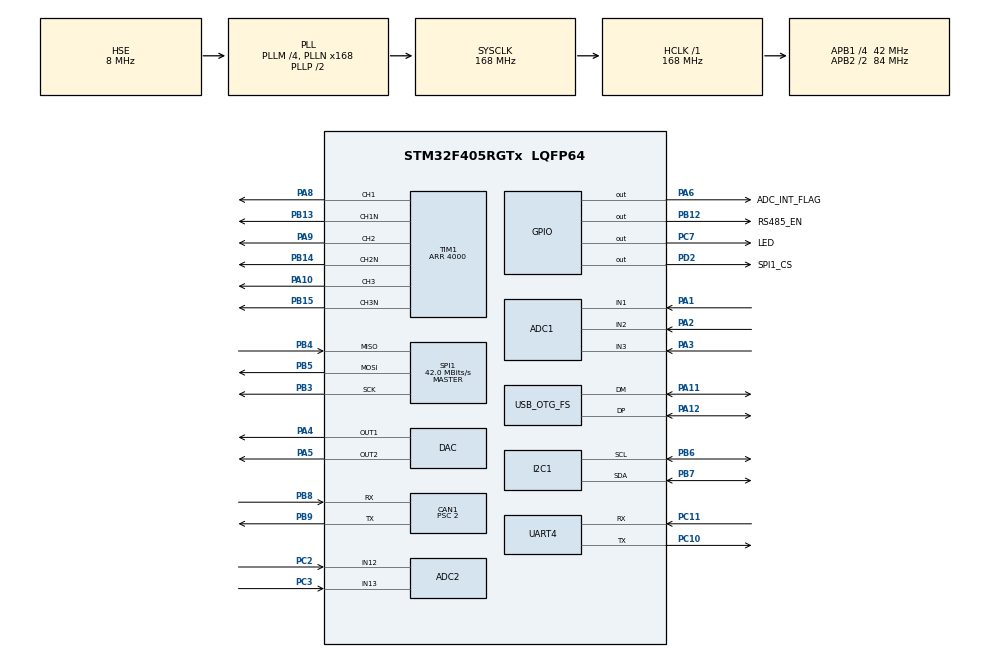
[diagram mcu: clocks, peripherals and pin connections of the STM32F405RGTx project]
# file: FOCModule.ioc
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ADC1.Channel-0\#ChannelRegularConversion=ADC_CHANNEL_1
ADC1.Channel-5\#ChannelInjectedConversion=ADC_CHANNEL_1
ADC1.Channel-6\#ChannelInjectedConversion=ADC_CHANNEL_2
ADC1.Channel-7\#ChannelInjectedConversion=ADC_CHANNEL_3
ADC1.EOCSelection=ADC_EOC_SEQ_CONV
ADC1.ExternalTrigInjecConv=ADC_EXTERNALTRIGINJECCONV_T1_CC4
ADC1.ExternalTrigInjecConvEdge=ADC_EXTERNALTRIGINJECCONVEDGE_FALLING
ADC1.InjNumberOfConversion=3
ADC1.InjectedOffset-5\#ChannelInjectedConversion=0
ADC1.InjectedOffset-6\#ChannelInjectedConversion=0
ADC1.InjectedOffset-7\#ChannelInjectedConversion=0
ADC1.InjectedRank-5\#ChannelInjectedConversion=1
ADC1.InjectedRank-6\#ChannelInjectedConversion=2
ADC1.InjectedRank-7\#ChannelInjectedConversion=3
ADC1.NbrOfConversion=1
ADC1.NbrOfConversionFlag=1
ADC1.Rank-0\#ChannelRegularConversion=1
ADC1.SamplingTime-0\#ChannelRegularConversion=ADC_SAMPLETIME_3CYCLES
ADC1.SamplingTime-5\#ChannelInjectedConversion=ADC_SAMPLETIME_3CYCLES
ADC1.SamplingTime-6\#ChannelInjectedConversion=ADC_SAMPLETIME_3CYCLES
ADC1.SamplingTime-7\#ChannelInjectedConversion=ADC_SAMPLETIME_3CYCLES
ADC1.master=1
ADC2.Channel-1\#ChannelRegularConversion=ADC_CHANNEL_12
ADC2.DMAContinuousRequests=ENABLE
ADC2.ExternalTrigConv=ADC_EXTERNALTRIGCONV_T3_TRGO
ADC2.NbrOfConversionFlag=1
ADC2.Rank-1\#ChannelRegularConversion=1
ADC2.SamplingTime-1\#ChannelRegularConversion=ADC_SAMPLETIME_15CYCLES
CAN1.ABOM=ENABLE
CAN1.BS1=CAN_BS1_14TQ
CAN1.BS2=CAN_BS2_6TQ
CAN1.CalculateBaudRate=1000000
CAN1.CalculateTimeBit=1000
CAN1.CalculateTimeQuantum=47.61904761904762
CAN1.Prescaler=2
DAC.DAC_Trigger=DAC_TRIGGER_NONE
Dma.ADC2.0.Direction=DMA_PERIPH_TO_MEMORY
Dma.ADC2.0.FIFOMode=DMA_FIFOMODE_DISABLE
Dma.ADC2.0.Instance=DMA2_Stream2
Dma.ADC2.0.MemDataAlignment=DMA_MDATAALIGN_HALFWORD
Dma.ADC2.0.MemInc=DMA_MINC_ENABLE
Dma.ADC2.0.Mode=DMA_CIRCULAR
Dma.ADC2.0.PeriphDataAlignment=DMA_PDATAALIGN_HALFWORD
Dma.ADC2.0.PeriphInc=DMA_PINC_DISABLE
Dma.ADC2.0.Priority=DMA_PRIORITY_LOW
Dma.Request0=ADC2
I2C1.I2C_Mode=I2C_Fast
Mcu.Family=STM32F4
Mcu.Name=STM32F405RGTx
Mcu.Package=LQFP64
NVIC.ADC_IRQn=true\:4\:0\:true\:false\:true\:true\:true\:true
NVIC.CAN1_RX0_IRQn=true\:3\:0\:true\:false\:true\:true\:true\:true
NVIC.DMA2_Stream2_IRQn=true\:0\:0\:false\:false\:true\:false\:true\:true
NVIC.OTG_FS_IRQn=true\:2\:0\:true\:false\:true\:false\:true\:true
NVIC.PriorityGroup=NVIC_PRIORITYGROUP_4
NVIC.TIM4_IRQn=true\:1\:0\:true\:false\:true\:true\:true\:true
PA1.Signal=ADCx_IN1
PA10.Signal=S_TIM1_CH3
PA11.Mode=Device_Only
PA11.Signal=USB_OTG_FS_DM
PA12.Mode=Device_Only
PA12.Signal=USB_OTG_FS_DP
PA13.Mode=Serial_Wire
PA13.Signal=SYS_JTMS-SWDIO
PA14.Mode=Serial_Wire
PA14.Signal=SYS_JTCK-SWCLK
PA2.Signal=ADCx_IN2
PA3.Signal=ADCx_IN3
PA4.Signal=SharedAnalog_PA4
PA5.Signal=SharedAnalog_PA5
PA6.GPIO_Label=ADC_INT_FLAG
PA6.GPIO_Speed=GPIO_SPEED_FREQ_VERY_HIGH
PA6.Signal=GPIO_Output
PA8.Signal=S_TIM1_CH1
PA9.Signal=S_TIM1_CH2
PB12.GPIO_Label=RS485_EN
PB12.Signal=GPIO_Output
PB13.Mode=PWM Generation1 CH1 CH1N
PB13.Signal=TIM1_CH1N
PB14.Mode=PWM Generation2 CH2 CH2N
PB14.Signal=TIM1_CH2N
PB15.Mode=PWM Generation3 CH3 CH3N
PB15.Signal=TIM1_CH3N
PB3.Mode=Full_Duplex_Master
PB3.Signal=SPI1_SCK
PB4.Mode=Full_Duplex_Master
PB4.Signal=SPI1_MISO
PB5.Mode=Full_Duplex_Master
PB5.Signal=SPI1_MOSI
PB6.Mode=I2C
PB6.Signal=I2C1_SCL
PB7.Mode=I2C
PB7.Signal=I2C1_SDA
PB8.Mode=CAN_Activate
PB8.Signal=CAN1_RX
PB9.Mode=CAN_Activate
PB9.Signal=CAN1_TX
PC10.Mode=Asynchronous
PC10.Signal=UART4_TX
PC11.Mode=Asynchronous
PC11.Signal=UART4_RX
PC2.Signal=ADCx_IN12
PC3.Signal=ADCx_IN13
PC7.GPIO_Label=LED
PC7.GPIO_Speed=GPIO_SPEED_FREQ_VERY_HIGH
PC7.Signal=GPIO_Output
PD2.GPIO_Label=SPI1_CS
PD2.Signal=GPIO_Output
PH0-OSC_IN.Mode=HSE-External-Oscillator
PH0-OSC_IN.Signal=RCC_OSC_IN
PH1-OSC_OUT.Mode=HSE-External-Oscillator
PH1-OSC_OUT.Signal=RCC_OSC_OUT
ProjectManager.HeapSize=0x800
ProjectManager.StackSize=0x800
ProjectManager.TargetToolchain=STM32CubeIDE
RCC.48MHZClocksFreq_Value=48000000
RCC.AHBFreq_Value=168000000
RCC.APB1CLKDivider=RCC_HCLK_DIV4
RCC.APB1Freq_Value=42000000
RCC.APB1TimFreq_Value=84000000
RCC.APB2CLKDivider=RCC_HCLK_DIV2
RCC.APB2Freq_Value=84000000
RCC.APB2TimFreq_Value=168000000
RCC.CortexFreq_Value=168000000
RCC.HCLKFreq_Value=168000000
RCC.HSE_VALUE=8000000
RCC.HSI_VALUE=16000000
RCC.LSE_VALUE=32768
RCC.PLLM=4
RCC.PLLN=168
RCC.PLLQ=7
RCC.SYSCLKFreq_VALUE=168000000
RCC.SYSCLKSource=RCC_SYSCLKSOURCE_PLLCLK
RCC.VCOOutputFreq_Value=336000000
SH.ADCx_IN1.0=ADC1_IN1,IN1
SH.ADCx_IN12.0=ADC2_IN12,IN12
SH.ADCx_IN13.0=ADC2_IN13,IN13
SH.ADCx_IN2.0=ADC1_IN2,IN2
SH.ADCx_IN3.0=ADC1_IN3,IN3
SH.S_TIM1_CH1.0=TIM1_CH1,PWM Generation1 CH1 CH1N
SH.S_TIM1_CH2.0=TIM1_CH2,PWM Generation2 CH2 CH2N
SH.S_TIM1_CH3.0=TIM1_CH3,PWM Generation3 CH3 CH3N
SH.SharedAnalog_PA4.0=GPIO_Analog
SH.SharedAnalog_PA4.1=DAC_OUT1,DAC_OUT1
SH.SharedAnalog_PA5.0=GPIO_Analog
SH.SharedAnalog_PA5.1=DAC_OUT2,DAC_OUT2
SPI1.CalculateBaudRate=42.0 MBits/s
SPI1.Direction=SPI_DIRECTION_2LINES
SPI1.Mode=SPI_MODE_MASTER
SPI1.VirtualType=VM_MASTER
STMicroelectronics.X-CUBE-ALGOBUILD.1.3.0.LibraryCcDSPOoLibraryJjDSPOoLibrary=true
TIM1.AutoReloadPreload=TIM_AUTORELOAD_PRELOAD_ENABLE
TIM1.Channel-PWM\ Generation1\ CH1\ CH1N=TIM_CHANNEL_1
TIM1.Channel-PWM\ Generation2\ CH2\ CH2N=TIM_CHANNEL_2
TIM1.Channel-PWM\ Generation3\ CH3\ CH3N=TIM_CHANNEL_3
TIM1.Channel-PWM\ Generation4\ No\ Output=TIM_CHANNEL_4
TIM1.CounterMode=TIM_COUNTERMODE_CENTERALIGNED1
TIM1.DeadTime=4
TIM1.Period=4000
TIM2.AutoReloadPreload=TIM_AUTORELOAD_PRELOAD_ENABLE
TIM2.Prescaler=168-1
TIM3.AutoReloadPreload=TIM_AUTORELOAD_PRELOAD_ENABLE
TIM3.Period=1000-1
TIM3.Prescaler=84-1
TIM3.TIM_MasterOutputTrigger=TIM_TRGO_UPDATE
TIM4.AutoReloadPreload=TIM_AUTORELOAD_PRELOAD_ENABLE
TIM4.Period=1000-1
TIM4.Prescaler=84-1
TIM4.TIM_MasterOutputTrigger=TIM_TRGO_UPDATE
UART4.VirtualMode=Asynchronous
USB_DEVICE.CLASS_NAME_FS=CDC
USB_DEVICE.VirtualMode-CDC_FS=Cdc
USB_DEVICE.VirtualModeFS=Cdc_FS
USB_OTG_FS.VirtualMode=Device_Only
VP_STMicroelectronics.X-CUBE-ALGOBUILD_VS_DSPOoLibraryJjLibrary_1.3.0_1.3.0.Mode=DSPOoLibraryJjLibrary
VP_TIM1_VS_ClockSourceINT.Mode=Internal
VP_TIM1_VS_no_output4.Mode=PWM Generation4 No Output
VP_TIM2_VS_ClockSourceINT.Mode=Internal
VP_TIM3_VS_ClockSourceINT.Mode=Internal
VP_TIM4_VS_ClockSourceINT.Mode=Internal
VP_USB_DEVICE_VS_USB_DEVICE_CDC_FS.Mode=CDC_FS
board=custom

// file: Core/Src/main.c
/* USER CODE BEGIN Header */
/**
  ******************************************************************************
  * @file           : main.c
  * @brief          : Main program body
  ******************************************************************************
  * @attention
  *
  * Copyright (c) 2023 STMicroelectronics.
  * All rights reserved.
  *
  * This software is licensed under terms that can be found in the LICENSE file
  * in the root directory of this software component.
  * If no LICENSE file comes with this software, it is provided AS-IS.
  *
  ******************************************************************************
  */
/* USER CODE END Header */
#include "main.h"
#include "adc.h"
#include "can.h"
#include "dac.h"
#include "dma.h"
#include "i2c.h"
#include "spi.h"
#include "tim.h"
#include "usart.h"
#include "usb_device.h"
#include "gpio.h"

/* USER CODE BEGIN Includes */
#include "FOC_PWM.h"
#include "FOC_core.h"
#include "FOC_current_sense.h"
#include "FOC_setting.h"
#include "FOC_scope.h"
#include "FOC_comm.h"
#include "FOC_status.h"
#include "AS5600.h"
#include "usbd_cdc_if.h"
/* USER CODE END Includes */

void SystemClock_Config(void);
/* USER CODE BEGIN PFP */
void SystemClock_EnableHSI(void);

void SystemClock_DisableHSI(void);
/* USER CODE END PFP */

int main(void)
{

  /* MCU Configuration--------------------------------------------------------*/

  /* Reset of all peripherals, Initializes the Flash interface and the Systick. */
  HAL_Init();

  /* USER CODE BEGIN Init */
    SystemClock_EnableHSI();
  /* USER CODE END Init */

  /* Configure the system clock */
  SystemClock_Config();

  /* USER CODE BEGIN SysInit */
    SystemClock_DisableHSI();
  /* USER CODE END SysInit */

  /* Initialize all configured peripherals */
  MX_GPIO_Init();
  MX_DMA_Init();
  MX_TIM1_Init();
  MX_ADC1_Init();
  MX_DAC_Init();
  MX_I2C1_Init();
  MX_USB_DEVICE_Init();
  MX_CAN1_Init();
  MX_SPI1_Init();
  MX_UART4_Init();
  MX_ADC2_Init();
  MX_TIM3_Init();
  MX_TIM2_Init();
  MX_TIM4_Init();
  /* USER CODE BEGIN 2 */
    CDC_printf("FOC Module: Start initializing.\n");

    AS5600_init();
    FOC_tim_init();
    FOC_calibrate();
    FOC_cs_init();
    FOC_scope_init();
    FOC_utility_init();
    FOC_encoder_init();
    FOC_comm_init();
    FOC_status_init();

    CDC_printf("FOC Module: Initialization finished.\n");
  /* USER CODE END 2 */

  /* Infinite loop */
  /* USER CODE BEGIN WHILE */
    while (1) {
//        static uint8_t cnt = 0;
        FOC_main_loop();
        //CDC_printf("FOC Module: Test loop count %d.\n", cnt++);
        HAL_GPIO_TogglePin(LED_GPIO_Port, LED_Pin);
        //HAL_Delay(0);
    /* USER CODE END WHILE */

    }
}

void SystemClock_Config(void)
{
  RCC_OscInitTypeDef RCC_OscInitStruct = {0};
  RCC_ClkInitTypeDef RCC_ClkInitStruct = {0};

  /** Configure the main internal regulator output voltage
  */
  __HAL_RCC_PWR_CLK_ENABLE();
  __HAL_PWR_VOLTAGESCALING_CONFIG(PWR_REGULATOR_VOLTAGE_SCALE1);

  /** Initializes the RCC Oscillators according to the specified parameters
  * in the RCC_OscInitTypeDef structure.
  */
  RCC_OscInitStruct.OscillatorType = RCC_OSCILLATORTYPE_HSE;
  RCC_OscInitStruct.HSEState = RCC_HSE_ON;
  RCC_OscInitStruct.PLL.PLLState = RCC_PLL_ON;
  RCC_OscInitStruct.PLL.PLLSource = RCC_PLLSOURCE_HSE;
  RCC_OscInitStruct.PLL.PLLM = 4;
  RCC_OscInitStruct.PLL.PLLN = 168;
  RCC_OscInitStruct.PLL.PLLP = RCC_PLLP_DIV2;
  RCC_OscInitStruct.PLL.PLLQ = 7;
  if (HAL_RCC_OscConfig(&RCC_OscInitStruct) != HAL_OK)
  {
    Error_Handler();
  }

  /** Initializes the CPU, AHB and APB buses clocks
  */
  RCC_ClkInitStruct.ClockType = RCC_CLOCKTYPE_HCLK|RCC_CLOCKTYPE_SYSCLK
                              |RCC_CLOCKTYPE_PCLK1|RCC_CLOCKTYPE_PCLK2;
  RCC_ClkInitStruct.SYSCLKSource = RCC_SYSCLKSOURCE_PLLCLK;
  RCC_ClkInitStruct.AHBCLKDivider = RCC_SYSCLK_DIV1;
  RCC_ClkInitStruct.APB1CLKDivider = RCC_HCLK_DIV4;
  RCC_ClkInitStruct.APB2CLKDivider = RCC_HCLK_DIV2;

  if (HAL_RCC_ClockConfig(&RCC_ClkInitStruct, FLASH_LATENCY_5) != HAL_OK)
  {
    Error_Handler();
  }
}

/* USER CODE BEGIN 4 */

void SystemClock_EnableHSI(void) {
    RCC_ClkInitTypeDef RCC_ClkInitStruct = {0};

    __HAL_RCC_PWR_CLK_ENABLE();
    __HAL_PWR_VOLTAGESCALING_CONFIG(PWR_REGULATOR_VOLTAGE_SCALE1);

    RCC_ClkInitStruct.ClockType    = RCC_CLOCKTYPE_SYSCLK;
    RCC_ClkInitStruct.SYSCLKSource = RCC_SYSCLKSOURCE_HSI;
    if (HAL_RCC_ClockConfig(&RCC_ClkInitStruct, FLASH_LATENCY_5) != HAL_OK) {
        Error_Handler();
    }
}

void SystemClock_DisableHSI(void) {
    RCC_OscInitTypeDef RCC_OscInitStruct = {0};

    RCC_OscInitStruct.OscillatorType = RCC_OSCILLATORTYPE_HSI;
    RCC_OscInitStruct.HSIState       = RCC_HSI_OFF;
    RCC_OscInitStruct.PLL.PLLState   = RCC_PLL_NONE;
    if (HAL_RCC_OscConfig(&RCC_OscInitStruct) != HAL_OK) {
        Error_Handler();
    }
}
/* USER CODE END 4 */

void Error_Handler(void)
{
  /* USER CODE BEGIN Error_Handler_Debug */
    /* User can add his own implementation to report the HAL error return state */
    __disable_irq();
    while (1) {
        HAL_GPIO_TogglePin(LED_GPIO_Port, LED_Pin);
        HAL_Delay(500);
    }
  /* USER CODE END Error_Handler_Debug */
}
